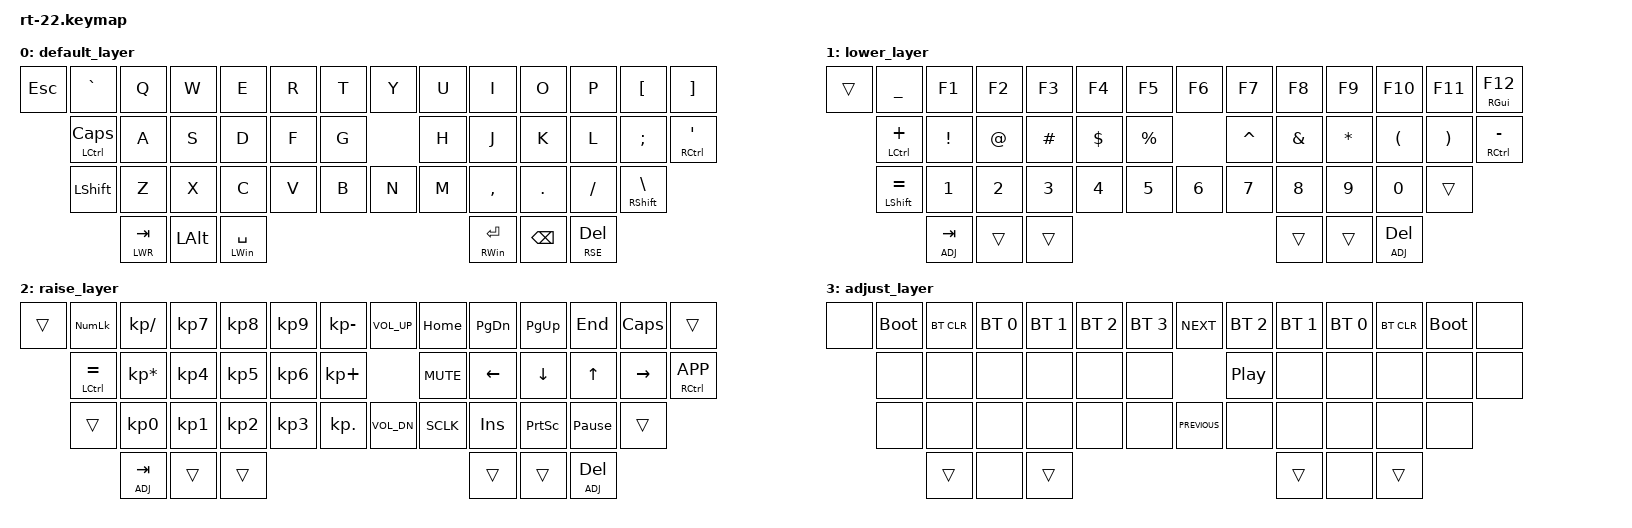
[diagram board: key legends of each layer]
/*
 * Copyright (c) 2020 The ZMK Contributors
 *
 * SPDX-License-Identifier: MIT
 */

#include <behaviors.dtsi>
#include <dt-bindings/zmk/keys.h>
#include <dt-bindings/zmk/bt.h>

#define DEF 0
#define LWR 1
#define RSE 2
#define ADJ 3

/ {
        keymap {
                compatible = "zmk,keymap";

                default_layer {
// -----------------------------------------------------------------------------------------
// | ESC |   ~  |  Q  |  W  |  E  |  R  |  T  |   |  Y  |  U   |  I  |  O  |  P  |  [   | GUI/] |
//        | LCTRL/CAPS |  A  |  S  |  D  |  F  |  G  |   |  H  |  J   |  K  |  L  |  ;  |RCTRL/'|
//        | LSHIFT |  Z  |  X  |  C  |  V  |  B  |   |  N  |  M   |  ,  |  .  |  /  | RSHIFT/BSLH |
//              | LWR/TAB | LALT | LWIN/SPACE |   | RWIN/RET | BSPC | RSE/DEL |
                        bindings = <
   &kp ESC &kp GRAVE &kp Q &kp W &kp E &kp R &kp T &kp Y              &kp U  &kp I     &kp O   &kp P    &kp LBKT &kp RBKT
           &mt LCTRL CAPS &kp A &kp S &kp D &kp F &kp G &kp H         &kp J  &kp K     &kp L   &kp SEMI &mt RCTRL SQT
           &kp LSHIFT &kp Z &kp X &kp C &kp V &kp B &kp N             &kp M  &kp COMMA &kp DOT &kp FSLH &mt RSHIFT BSLH
                        &lt LWR TAB &kp LALT &mt LWIN SPACE           &mt RWIN RET &kp BSPC &lt RSE DEL
                        >;
                };
                lower_layer {
// -----------------------------------------------------------------------------------------
// |     |  _  |  F1 |  F2 |  F3 |  F4 |  F5 |   |  F6 |  F7 |  F8 |  F9 | F10 | F11 | F12 |
//       |  +  |  !  |  @  |  #  |  $  |  %  |   |  ^  |  &  |  *  |  (  |  )  |  -  |
//       |  =  |  1  |  2  |  3  |  4  |  5  |   |  6  |  7  |  8  |  9  |  0  |     |
//                    | GUI |     | SPC |   | ENT |     | ALT |
                        bindings = <
   &trans &kp UNDER      &kp F1   &kp F2 &kp F3   &kp F4   &kp F5           &kp F6    &kp F7   &kp F8   &kp F9   &kp F10  &kp F11 &mt RGUI F12
          &mt LCTRL PLUS &kp EXCL &kp AT &kp HASH &kp DLLR &kp PRCNT        &kp CARET &kp AMPS &kp STAR &kp LPAR &kp RPAR &mt RCTRL MINUS
          &mt LSHIFT EQUAL &kp N1   &kp N2 &kp N3   &kp N4   &kp N5         &kp N6    &kp N7   &kp N8   &kp N9   &kp N0   &trans
                                        &lt ADJ TAB &trans &trans      &trans &trans &lt ADJ DEL
                        >;
                };

                raise_layer {
// -----------------------------------------------------------------------------------------
// |     | NMLK |  /  |  7  |  8  |  9  |  -  |   | VOLU| HOME| PGDN| PGUP| END| CLCK|     |
//       | CTRL |  *  |  4  |  5  |  6  |  +  |   | MUT | LEFT| DOWN| UP  |RGHT| APP |
//       |      |  0  |  1  |  2  |  3  |  .  |   | VOLD| SCLK | INS |PSCRN | PAUS|     |
//                          |     |     |     |   |     |     |     |
                        bindings = <
   &trans &kp KP_NUM      &kp KP_SLASH    &kp KP_N7 &kp KP_N8 &kp KP_N9 &kp KP_MINUS        &kp C_VOL_UP &kp HOME &kp PG_DN &kp PG_UP &kp END &kp CAPS &trans
          &mt LCTRL EQUAL &kp KP_MULTIPLY &kp KP_N4 &kp KP_N5 &kp KP_N6 &kp KP_PLUS         &kp C_MUTE   &kp LEFT &kp DOWN  &kp UP &kp RIGHT  &mt RCTRL K_APP
          &trans          &kp KP_N0       &kp KP_N1 &kp KP_N2 &kp KP_N3 &kp KP_DOT          &kp C_VOL_DN &kp SCLK &kp INS  &kp PSCRN &kp PAUSE_BREAK &trans
                                                        &lt ADJ TAB &trans &trans               &trans &trans &lt ADJ DEL
                        >;
                };
                adjust_layer {
// -----------------------------------------------------------------------------------------
// | RST | BLDR | BTCLR| BT0 | BT1 | BT2 | BT3   |K_NEXT| BT2 | BT1 | BT0 | BTCLR| BLDR | RST |
//       |      |     |     |     |     |     |   |K_PLAY_PAUSE|    |     |     |     |      |
//       |      |     |     |     |     |     |   |K_PREVIOUS|     |     |     |     |      |
//                          |     |     |     |   |     |     |     |
                        bindings = <
   &none &bootloader  &bt BT_CLR   &bt BT_SEL 0 &bt BT_SEL 1 &bt BT_SEL 2 &bt BT_SEL 3       &kp C_NEXT       &bt BT_SEL 2 &bt BT_SEL 1 &bt BT_SEL 0  &bt BT_CLR         &bootloader &none
          &none        &none        &none        &none        &none        &none              &kp C_PLAY_PAUSE &none        &none        &none        &none         &none
          &none        &none        &none        &none        &none        &none              &kp C_PREVIOUS   &none        &none        &none        &none         &none
                                                                    &trans &none &trans   &trans &none &trans
                        >;
                };
        };
};
